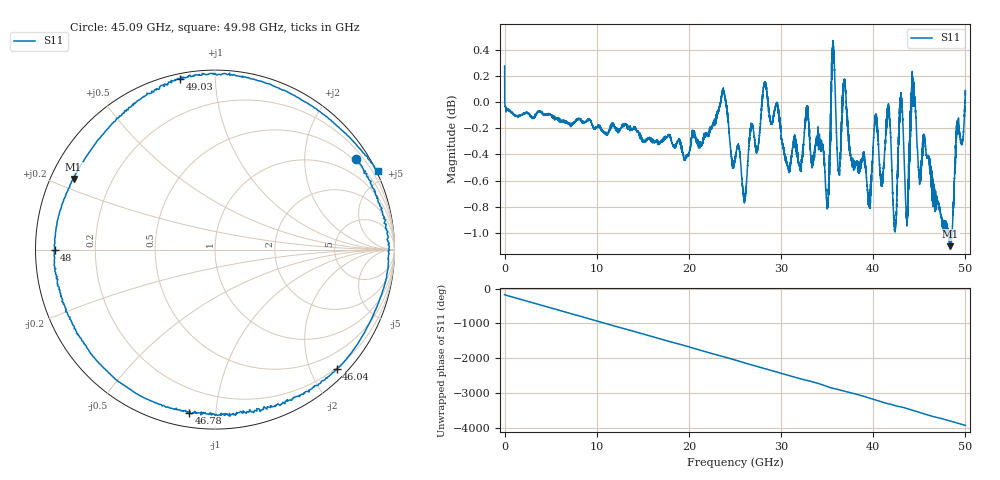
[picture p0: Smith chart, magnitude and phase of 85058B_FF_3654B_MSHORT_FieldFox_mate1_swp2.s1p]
!Created with skrf (http://scikit-rf.org).
# Hz S RI R 50.0
!freq ReS11 ImS11
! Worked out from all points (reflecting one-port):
!   10001 points, 300 kHz to 50 GHz, reference 50 ohm
!   lowest |S11| = -1.1 dB at 48.36 GHz (marker M1), VSWR 15.78, Z = 3.34 + j11.8 ohm
!   phase of S11 starts at -173 deg and turns -3763 deg over the sweep
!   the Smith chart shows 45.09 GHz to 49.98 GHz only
!   S11 on the Smith chart (normalised r, x): 45.09 GHz: 0.41, +3.37; 46.04 GHz: 0.18, -2.43; 46.78 GHz: 0.07, -0.85; 48 GHz: 0.06, -0.00; 49.03 GHz: 0.03, +0.82; 49.98 GHz: -0.06, +4.38
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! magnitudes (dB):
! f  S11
! 300 kHz  0.3
! 6.25 GHz  -0.1
! 12.5 GHz  -0.2
! 18.75 GHz  -0.3
! 23.73 GHz  0.1
! 25 GHz  -0.4
! 26.06 GHz  -0.7
! 28.25 GHz  0.1
! 31.25 GHz  -0.4
! 35.02 GHz  -0.8
! 35.66 GHz  0.4
! 36.23 GHz  -0.5
! 36.86 GHz  0.1
! 37.5 GHz  -0.4
! 39.57 GHz  -0.8
! 41.64 GHz  -0.1
! 42.35 GHz  -1.0
! 43.03 GHz  0.0
! 43.75 GHz  -0.8
! 44.32 GHz  0.2
! 45.09 GHz  -0.6
! 46.04 GHz  -0.4
! 46.78 GHz  -0.7
! 48 GHz  -1.0
! 48.36 GHz  -1.1
! 49.03 GHz  -0.3
! 49.98 GHz  0.0
! 50 GHz  0.1
